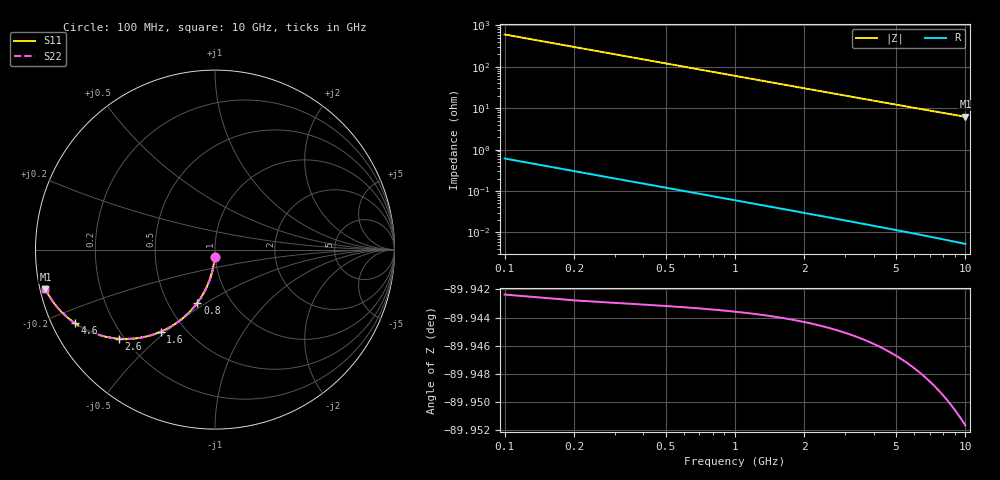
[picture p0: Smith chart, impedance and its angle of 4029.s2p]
# Hz S RI R 50.00
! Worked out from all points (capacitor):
!   100 points, 100 MHz to 10 GHz, reference 50 ohm
!   read as one part in shunt: C = 2.63 pF near 100 MHz
!   lowest |Z| = 6.23 ohm at 10 GHz (marker M1)
!   S11 on the Smith chart (normalised r, x): 100 MHz: 0.99, -0.08; 800 MHz: 0.70, -0.46; 1.6 GHz: 0.37, -0.48; 2.6 GHz: 0.18, -0.38; 4.6 GHz: 0.07, -0.24; 10 GHz: 0.02, -0.12
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1e8  -0.0017 -0.0411  0.9982 -0.0413  0.9982 -0.0413  -0.0017 -0.0411
2e8  -0.0068 -0.0818  0.9931 -0.0821  0.9931 -0.0821  -0.0068 -0.0818
3e8  -0.0152 -0.1217  0.9848 -0.1221  0.9848 -0.1221  -0.0152 -0.1217
4e8  -0.0266 -0.1603  0.9733 -0.1609  0.9733 -0.1609  -0.0266 -0.1603
5e8  -0.041 -0.1974  0.959 -0.1981  0.959 -0.1981  -0.041 -0.1974
6e8  -0.0579 -0.2327  0.942 -0.2336  0.942 -0.2336  -0.0579 -0.2327
8e8  -0.0984 -0.2968  0.9015 -0.298  0.9015 -0.298  -0.0984 -0.2968
1e9  -0.1456 -0.3515  0.8543 -0.353  0.8543 -0.353  -0.1456 -0.3515
1.2e9  -0.197 -0.3964  0.8029 -0.3981  0.8029 -0.3981  -0.197 -0.3964
1.6e9  -0.3035 -0.4581  0.6964 -0.4605  0.6964 -0.4605  -0.3035 -0.4581
1.8e9  -0.3554 -0.4768  0.6445 -0.4795  0.6445 -0.4795  -0.3554 -0.4768
2.2e9  -0.4515 -0.4955  0.5484 -0.4988  0.5484 -0.4988  -0.4515 -0.4955
2.6e9  -0.5347 -0.4964  0.4652 -0.5002  0.4652 -0.5002  -0.5347 -0.4964
3e9  -0.6047 -0.4862  0.3952 -0.4906  0.3952 -0.4906  -0.6047 -0.4862
3.4e9  -0.6626 -0.4698  0.3373 -0.4748  0.3373 -0.4748  -0.6626 -0.4698
4e9  -0.731 -0.4399  0.2689 -0.4459  0.2689 -0.4459  -0.731 -0.4399
4.6e9  -0.7823 -0.4087  0.2176 -0.4156  0.2176 -0.4156  -0.7823 -0.4087
5.1e9  -0.8154 -0.3837  0.1845 -0.3912  0.1845 -0.3912  -0.8154 -0.3837
5.8e9  -0.851 -0.3512  0.1489 -0.3598  0.1489 -0.3598  -0.851 -0.3512
6.7e9  -0.884 -0.3146  0.1158 -0.3246  0.1158 -0.3246  -0.884 -0.3146
8.4e9  -0.9231 -0.2595  0.0768 -0.2722  0.0768 -0.2722  -0.9231 -0.2595
1e10  -0.9446 -0.2205  0.0552 -0.2357  0.0552 -0.2357  -0.9446 -0.2205
